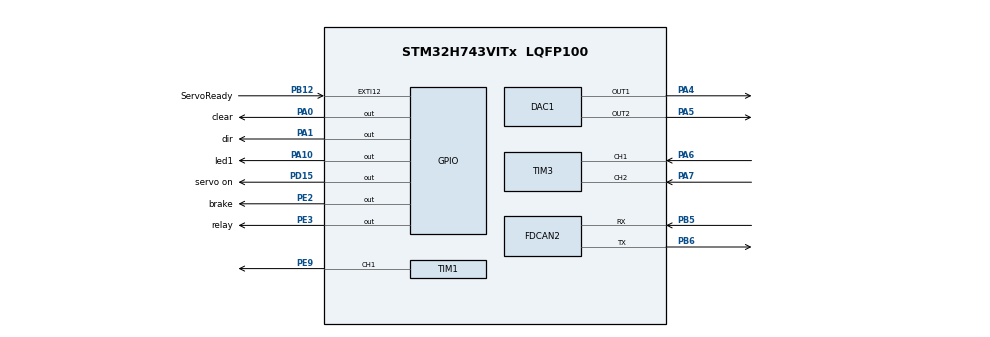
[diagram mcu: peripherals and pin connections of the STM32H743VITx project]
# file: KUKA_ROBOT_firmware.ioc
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CORTEX_M7.default_mode_Activation=1
DAC1.DAC_Channel-DAC_OUT1=DAC_CHANNEL_1
DAC1.DAC_Channel-DAC_OUT2=DAC_CHANNEL_2
FDCAN2.AutoRetransmission=ENABLE
FDCAN2.CalculateBaudRateNominal=500000
FDCAN2.CalculateTimeBitNominal=2000
FDCAN2.CalculateTimeQuantumNominal=125.0
FDCAN2.NominalPrescaler=6
FDCAN2.NominalTimeSeg1=13
FDCAN2.NominalTimeSeg2=2
FDCAN2.RxFifo0ElmtsNbr=10
FDCAN2.RxFifo1ElmtsNbr=10
FDCAN2.StdFiltersNbr=2
FDCAN2.TxFifoQueueElmtsNbr=10
Mcu.Family=STM32H7
Mcu.Name=STM32H743VITx
Mcu.Package=LQFP100
NVIC.EXTI15_10_IRQn=true\:0\:0\:false\:false\:true\:true\:true\:true
NVIC.FDCAN2_IT0_IRQn=true\:2\:0\:true\:false\:true\:true\:true\:true
NVIC.PriorityGroup=NVIC_PRIORITYGROUP_4
NVIC.TIM1_UP_IRQn=true\:1\:0\:true\:false\:true\:true\:true\:true
PA0.GPIO_Label=clear
PA0.Signal=GPIO_Output
PA1.GPIO_Label=dir
PA1.Signal=GPIO_Output
PA10.GPIO_Label=led1
PA10.Signal=GPIO_Output
PA13\ (JTMS/SWDIO).Mode=Serial_Wire
PA13\ (JTMS/SWDIO).Signal=DEBUG_JTMS-SWDIO
PA14\ (JTCK/SWCLK).Mode=Serial_Wire
PA14\ (JTCK/SWCLK).Signal=DEBUG_JTCK-SWCLK
PA4.Signal=COMP_DAC11_group
PA5.Signal=COMP_DAC12_group
PA6.Signal=S_TIM3_CH1
PA7.Signal=S_TIM3_CH2
PB12.GPIO_Label=ServoReady
PB12.GPIO_ModeDefaultEXTI=GPIO_MODE_IT_RISING_FALLING
PB12.Signal=GPXTI12
PB5.Mode=FDCAN_Activate
PB5.Signal=FDCAN2_RX
PB6.Mode=FDCAN_Activate
PB6.Signal=FDCAN2_TX
PD15.GPIO_Label=servo on
PD15.Signal=GPIO_Output
PE2.GPIO_Label=brake
PE2.Signal=GPIO_Output
PE3.GPIO_Label=relay
PE3.Signal=GPIO_Output
PE9.Signal=S_TIM1_CH1
PH0-OSC_IN\ (PH0).Mode=HSE-External-Oscillator
PH0-OSC_IN\ (PH0).Signal=RCC_OSC_IN
PH1-OSC_OUT\ (PH1).Mode=HSE-External-Oscillator
PH1-OSC_OUT\ (PH1).Signal=RCC_OSC_OUT
ProjectManager.HeapSize=0x200
ProjectManager.StackSize=0x400
ProjectManager.TargetToolchain=STM32CubeIDE
RCC.ADCFreq_Value=128000000
RCC.APB1Freq_Value=84000000
RCC.APB2Freq_Value=84000000
RCC.APB3Freq_Value=84000000
RCC.APB4Freq_Value=84000000
RCC.CortexFreq_Value=21000000
RCC.Cortex_Div=SYSTICK_CLKSOURCE_HCLK_DIV8
RCC.D1PPRE=RCC_APB3_DIV2
RCC.D2PPRE1=RCC_APB1_DIV2
RCC.D2PPRE2=RCC_APB2_DIV2
RCC.D3PPRE=RCC_APB4_DIV2
RCC.DIVM1=4
RCC.DIVM2=4
RCC.DIVN1=21
RCC.DIVN2=16
RCC.DIVQ1=7
RCC.DIVQ2=18
RCC.HCLKFreq_Value=168000000
RCC.PLL2FRACN=0
RCC.PLL3FRACN=0
RCC.PLLFRACN=0
RCC.RCC_MCO1Source=RCC_MCO1SOURCE_HSE
RCC.SYSCLKFreq_VALUE=168000000
RCC.SYSCLKSource=RCC_SYSCLKSOURCE_PLLCLK
RCC.USBFreq_Value=48000000
SH.COMP_DAC11_group.0=DAC1_OUT1,DAC_OUT1
SH.COMP_DAC12_group.0=DAC1_OUT2,DAC_OUT2
SH.S_TIM1_CH1.0=TIM1_CH1,PWM Generation1 CH1
SH.S_TIM3_CH1.0=TIM3_CH1,Encoder_Interface
SH.S_TIM3_CH2.0=TIM3_CH2,Encoder_Interface
TIM1.AutoReloadPreload=TIM_AUTORELOAD_PRELOAD_ENABLE
TIM1.Channel-PWM\ Generation1\ CH1=TIM_CHANNEL_1
TIM1.Period=1000
TIM1.Prescaler=168 - 1
TIM3.EncoderMode=TIM_ENCODERMODE_TI12
VP_MEMORYMAP_VS_MEMORYMAP.Mode=CurAppReg
VP_TIM1_VS_ClockSourceINT.Mode=Internal
VP_TIM1_VS_OPM.Mode=OPM_bit
board=custom

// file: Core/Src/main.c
/* USER CODE BEGIN Header */
/**
 ******************************************************************************
 * @file           : main.c
 * @brief          : Main program body
 ******************************************************************************
 * @attention
 *
 * Copyright (c) 2026 STMicroelectronics.
 * All rights reserved.
 *
 * This software is licensed under terms that can be found in the LICENSE file
 * in the root directory of this software component.
 * If no LICENSE file comes with this software, it is provided AS-IS.
 *
 ******************************************************************************
 */
/* USER CODE END Header */
#include "main.h"
#include "dac.h"
#include "fdcan.h"
#include "tim.h"
#include "gpio.h"

/* USER CODE BEGIN Includes */
#include "Robot_Joint.h"
/* USER CODE END Includes */

/* USER CODE BEGIN PTD */
extern FDCAN_HandleTypeDef hfdcan2;
extern FDCAN_FilterTypeDef sFilterConfig;

/* USER CODE END PTD */

void SystemClock_Config(void);
static void MPU_Config(void);

int main(void)
{

  /* MPU Configuration--------------------------------------------------------*/
  MPU_Config();

  /* MCU Configuration--------------------------------------------------------*/

  /* Reset of all peripherals, Initializes the Flash interface and the Systick. */
  HAL_Init();

  /* Configure the system clock */
  SystemClock_Config();

  /* Initialize all configured peripherals */
  MX_GPIO_Init();
  MX_TIM3_Init();
  MX_FDCAN2_Init();
  MX_TIM1_Init();
  MX_DAC1_Init();
  /* USER CODE BEGIN 2 */

	HAL_DAC_Start(&hdac1, DAC_CHANNEL_1);
	HAL_DAC_Start(&hdac1, DAC_CHANNEL_2);
	HAL_DAC_SetValue(&hdac1, DAC_CHANNEL_1, DAC_ALIGN_12B_R, 2047);
	HAL_DAC_SetValue(&hdac1, DAC_CHANNEL_2, DAC_ALIGN_12B_R, 2047);

	Servo_Init();

	if (NODE_ID == JOINT_4)
	{
		Servo_Enable(true);
		Motor_Brake(false);
	}

	HAL_FDCAN_ConfigFilter(&hfdcan2, &sFilterConfig);

	// Reject non-matching messages to ensure we only process NODE_ID
	HAL_FDCAN_ConfigGlobalFilter(&hfdcan2, FDCAN_REJECT, FDCAN_REJECT, FDCAN_FILTER_REMOTE, FDCAN_FILTER_REMOTE);

	// Enable RX interrupt
	HAL_FDCAN_ActivateNotification(&hfdcan2, FDCAN_IT_RX_FIFO0_NEW_MESSAGE, 0);

	HAL_FDCAN_Start(&hfdcan2);

#if MY_NODE_TYPE == NODE_MASTER
		// --- Move CW ---
		CAN_Send_Command(JOINT_2, 0, 30, 50000);
		CAN_Send_Command(JOINT_3, 0, 30, 60000);
#endif

  /* USER CODE END 2 */

  /* Infinite loop */
	while (1)
	{

	}
}

void SystemClock_Config(void)
{
  LL_FLASH_SetLatency(LL_FLASH_LATENCY_2);
  while(LL_FLASH_GetLatency()!= LL_FLASH_LATENCY_2)
  {
  }
  LL_PWR_ConfigSupply(LL_PWR_LDO_SUPPLY);
  LL_PWR_SetRegulVoltageScaling(LL_PWR_REGU_VOLTAGE_SCALE1);
  while (LL_PWR_IsActiveFlag_VOS() == 0)
  {
  }
  LL_RCC_HSI_Enable();

   /* Wait till HSI is ready */
  while(LL_RCC_HSI_IsReady() != 1)
  {

  }
  LL_RCC_HSI_SetCalibTrimming(64);
  LL_RCC_HSI_SetDivider(LL_RCC_HSI_DIV1);
  LL_RCC_PLL_SetSource(LL_RCC_PLLSOURCE_HSI);
  LL_RCC_PLL1P_Enable();
  LL_RCC_PLL1Q_Enable();
  LL_RCC_PLL1R_Enable();
  LL_RCC_PLL1_SetVCOInputRange(LL_RCC_PLLINPUTRANGE_8_16);
  LL_RCC_PLL1_SetVCOOutputRange(LL_RCC_PLLVCORANGE_WIDE);
  LL_RCC_PLL1_SetM(4);
  LL_RCC_PLL1_SetN(21);
  LL_RCC_PLL1_SetP(2);
  LL_RCC_PLL1_SetQ(7);
  LL_RCC_PLL1_SetR(2);
  LL_RCC_PLL1_Enable();

   /* Wait till PLL is ready */
  while(LL_RCC_PLL1_IsReady() != 1)
  {
  }

   /* Intermediate AHB prescaler 2 when target frequency clock is higher than 80 MHz */
   LL_RCC_SetAHBPrescaler(LL_RCC_AHB_DIV_2);

  LL_RCC_SetSysClkSource(LL_RCC_SYS_CLKSOURCE_PLL1);

   /* Wait till System clock is ready */
  while(LL_RCC_GetSysClkSource() != LL_RCC_SYS_CLKSOURCE_STATUS_PLL1)
  {

  }
  LL_RCC_SetSysPrescaler(LL_RCC_SYSCLK_DIV_1);
  LL_RCC_SetAHBPrescaler(LL_RCC_AHB_DIV_1);
  LL_RCC_SetAPB1Prescaler(LL_RCC_APB1_DIV_2);
  LL_RCC_SetAPB2Prescaler(LL_RCC_APB2_DIV_2);
  LL_RCC_SetAPB3Prescaler(LL_RCC_APB3_DIV_2);
  LL_RCC_SetAPB4Prescaler(LL_RCC_APB4_DIV_2);
  LL_SetSystemCoreClock(168000000);

   /* Update the time base */
  if (HAL_InitTick (TICK_INT_PRIORITY) != HAL_OK)
  {
    Error_Handler();
  }
}

 /* MPU Configuration */

void MPU_Config(void)
{
  MPU_Region_InitTypeDef MPU_InitStruct = {0};

  /* Disables the MPU */
  HAL_MPU_Disable();

  /** Initializes and configures the Region and the memory to be protected
  */
  MPU_InitStruct.Enable = MPU_REGION_ENABLE;
  MPU_InitStruct.Number = MPU_REGION_NUMBER0;
  MPU_InitStruct.BaseAddress = 0x0;
  MPU_InitStruct.Size = MPU_REGION_SIZE_4GB;
  MPU_InitStruct.SubRegionDisable = 0x87;
  MPU_InitStruct.TypeExtField = MPU_TEX_LEVEL0;
  MPU_InitStruct.AccessPermission = MPU_REGION_NO_ACCESS;
  MPU_InitStruct.DisableExec = MPU_INSTRUCTION_ACCESS_DISABLE;
  MPU_InitStruct.IsShareable = MPU_ACCESS_SHAREABLE;
  MPU_InitStruct.IsCacheable = MPU_ACCESS_NOT_CACHEABLE;
  MPU_InitStruct.IsBufferable = MPU_ACCESS_NOT_BUFFERABLE;

  HAL_MPU_ConfigRegion(&MPU_InitStruct);
  /* Enables the MPU */
  HAL_MPU_Enable(MPU_PRIVILEGED_DEFAULT);

}

void Error_Handler(void)
{
	__disable_irq();
	while (1)
	{
	}
}
